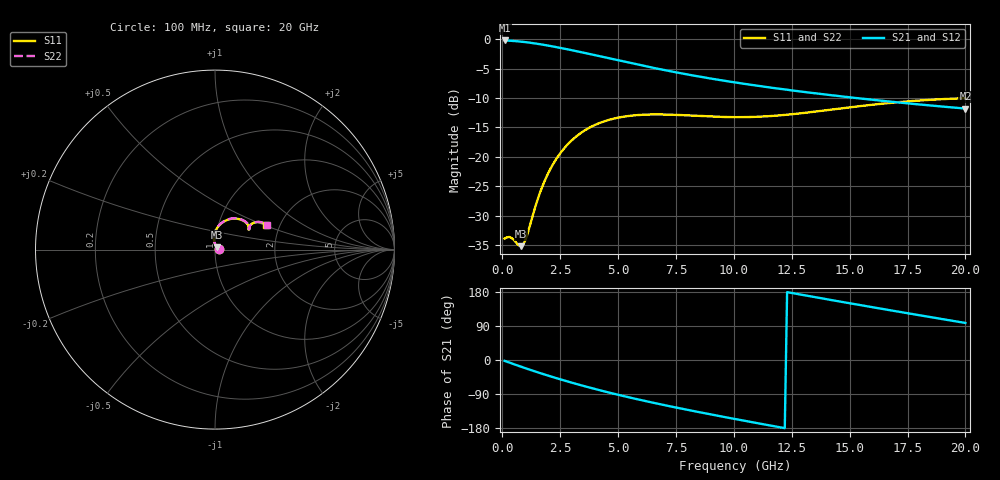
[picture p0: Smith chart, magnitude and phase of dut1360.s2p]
! Touchstone file exported from HFSS 2024.1.0
!  File:  C:/UserFiles/LocalFiles/RDL_TSV_Batchsim/temp_RDL_TSV_1360_1780396396.aedt
!  Generated:  06:50:47 PM Jun  2, 2026
!  Design:  RDL_TSV
!  Project:  temp_RDL_TSV_1360_1780396396
!  Setup:  Setup1
!  Solution:  Sweep
! Variables:
!  dtsv = 9.39um
!  hbump = 3um
!  htsv = 91.79um
!  ldown = 497.91um
!  lrdl = 560.22um
!  p = 40
!  p1 = 49.12um
!  rhole = 10um
!  subl = 3734.61um
!  t = 450um
!  tdown = 2.98um
!  trdl = 3.38um
!  viad = 10um
!  wdown = 16.93um
!  wrdl = 26.46um
!  xbump = 18um
# GHz S MA R 50.000000
! Terminal data exported
! Port[1] = TM1_1_T1
! Port[2] = TM1_4_T1
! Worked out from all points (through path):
!   200 points, 100 MHz to 20 GHz, reference 50 ohm
!   highest |S21| = -0.18 dB at 100 MHz (marker M1); lowest = -11.8 dB at 20 GHz (marker M2)
!   group delay of S21, straight-line fit = 34.5 ps
!   lowest |S11| = -35.2 dB at 800 MHz (marker M3), VSWR 1.04, Z = 51.2 + j1.25 ohm
!   |S11| at or under -10 dB: start of sweep to end of sweep
!   |S22| runs from -35.2 to -9.9 dB; largest |S21 - S12| = 1.1e-14
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0.1  0.02016 5.6  0.9794 -2.3  0.9794 -2.3  0.02016 5.6
! Gamma 0 0 0 0
! Port Impedance 50 0 50 0
0.4  0.0204 16.0  0.9725 -8.9  0.9725 -8.9  0.02038 16.1
0.8  0.01736 44.7  0.9576 -17.5  0.9576 -17.5  0.01732 45.1
0.9  0.01793 56.6  0.9529 -19.6  0.9529 -19.6  0.01791 57.1
1  0.01964 68.0  0.9479 -21.7  0.9479 -21.7  0.01967 68.6
1.6  0.04779 95.6  0.9119 -33.9  0.9119 -33.9  0.04812 95.9
1.8  0.06047 95.7  0.8983 -37.8  0.8983 -37.8  0.06091 95.9
2.1  0.08042 93.2  0.8769 -43.5  0.8769 -43.5  0.08101 93.4
2.7  0.1199 84.7  0.8322 -54.5  0.8322 -54.5  0.1208 84.9
3.5  0.165 72.1  0.7714 -68.3  0.7714 -68.3  0.1663 72.3
4.2  0.1941 62.0  0.7196 -79.6  0.7196 -79.6  0.1957 62.2
5.1  0.2175 51.1  0.6574 -93.2  0.6574 -93.2  0.2194 51.3
5.9  0.2272 43.5  0.6075 -104.5  0.6075 -104.5  0.2294 43.7
6.8  0.2297 37.2  0.5581 -116.5  0.5581 -116.5  0.232 37.3
8.3  0.2239 31.5  0.4905 -135.2  0.4905 -135.2  0.2265 31.6
10.1  0.2177 30.9  0.4286 -156.3  0.4286 -156.3  0.2204 30.9
11.7  0.2233 33.2  0.3861 -174.3  0.3861 -174.3  0.2259 33.0
13.4  0.2413 34.9  0.3497 167.0  0.3497 167.0  0.2437 34.7
15  0.2639 34.6  0.3214 149.7  0.3214 149.7  0.2662 34.4
16.7  0.2872 32.4  0.296 131.8  0.296 131.8  0.2895 32.2
18.3  0.3045 29.2  0.2758 115.2  0.2758 115.2  0.3067 29.1
20  0.3159 25.5  0.2578 97.8  0.2578 97.8  0.3182 25.4
